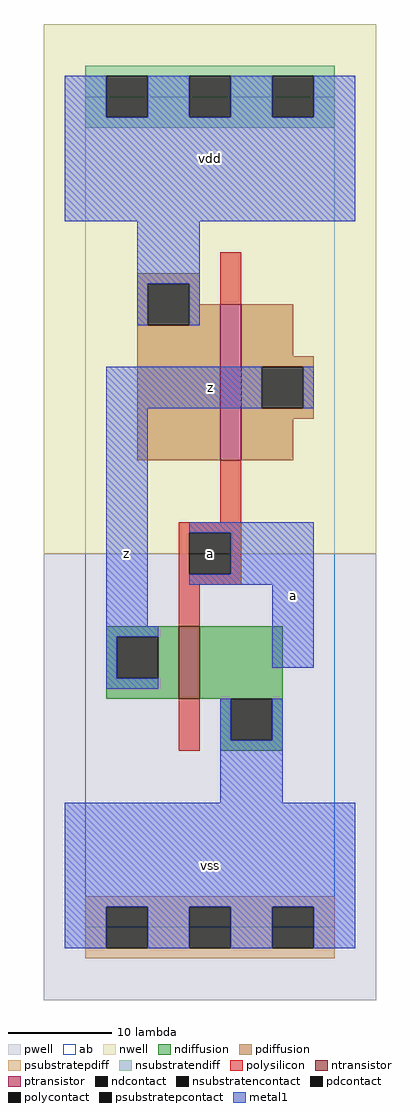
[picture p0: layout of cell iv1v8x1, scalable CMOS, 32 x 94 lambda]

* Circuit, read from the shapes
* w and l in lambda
.subckt iv1v8x1 a vdd vss z
M1 vss a z vss nfet w=7 l=2
M2 z a vdd vdd pfet w=15 l=2
.ends

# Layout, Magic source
magic
tech scmos
<< ab >>
rect 0 0 24 80
<< pwell >>
rect -4 -7 28 36
<< nwell >>
rect -4 36 28 87
<< polysilicon >>
rect 13 60 15 65
rect 13 39 15 45
rect 9 38 15 39
rect 9 34 10 38
rect 14 34 15 38
rect 9 33 15 34
rect 9 29 11 33
rect 9 17 11 22
<< ndiffusion >>
rect 2 28 9 29
rect 2 24 3 28
rect 7 24 9 28
rect 2 22 9 24
rect 11 22 19 29
rect 13 18 14 22
rect 18 18 19 22
rect 13 17 19 18
<< pdiffusion >>
rect 5 62 11 63
rect 5 58 6 62
rect 10 60 11 62
rect 10 58 13 60
rect 5 45 13 58
rect 15 55 20 60
rect 15 54 22 55
rect 15 50 17 54
rect 21 50 22 54
rect 15 49 22 50
rect 15 45 20 49
<< metal1 >>
rect -2 78 2 82
rect 6 78 10 82
rect 14 78 18 82
rect 22 78 26 82
rect -2 68 26 78
rect 5 62 11 68
rect 5 58 6 62
rect 10 58 11 62
rect 2 50 17 54
rect 21 50 22 54
rect 2 29 6 50
rect 10 38 22 39
rect 14 34 22 38
rect 10 33 22 34
rect 2 28 7 29
rect 2 24 3 28
rect 18 25 22 33
rect 2 23 7 24
rect 13 18 14 22
rect 18 18 19 22
rect 13 12 19 18
rect -2 2 26 12
rect -2 -2 2 2
rect 6 -2 10 2
rect 14 -2 18 2
rect 22 -2 26 2
<< ntransistor >>
rect 9 22 11 29
<< ptransistor >>
rect 13 45 15 60
<< polycontact >>
rect 10 34 14 38
<< ndcontact >>
rect 3 24 7 28
rect 14 18 18 22
<< pdcontact >>
rect 6 58 10 62
rect 17 50 21 54
<< psubstratepcontact >>
rect 2 -2 6 2
rect 10 -2 14 2
rect 18 -2 22 2
<< nsubstratencontact >>
rect 2 78 6 82
rect 10 78 14 82
rect 18 78 22 82
<< psubstratepdiff >>
rect 0 2 24 3
rect 0 -2 2 2
rect 6 -2 10 2
rect 14 -2 18 2
rect 22 -2 24 2
rect 0 -3 24 -2
<< nsubstratendiff >>
rect 0 82 24 83
rect 0 78 2 82
rect 6 78 10 82
rect 14 78 18 82
rect 22 78 24 82
rect 0 77 24 78
<< labels >>
rlabel metal1 4 36 4 36 6 z
rlabel metal1 12 6 12 6 6 vss
rlabel polycontact 12 36 12 36 6 a
rlabel metal1 12 52 12 52 6 z
rlabel metal1 12 74 12 74 6 vdd
rlabel metal1 20 32 20 32 6 a
<< end >>
